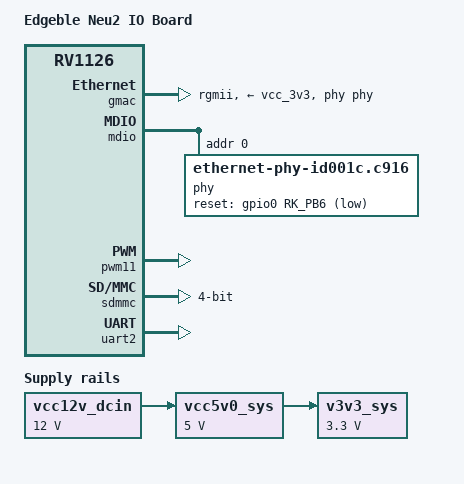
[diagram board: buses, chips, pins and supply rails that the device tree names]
// SPDX-License-Identifier: (GPL-2.0+ OR MIT)
/*
 * Copyright (c) 2020 Rockchip Electronics Co., Ltd.
 * Copyright (c) 2022 Edgeble AI Technologies Pvt. Ltd.
 */

/dts-v1/;
#include "rv1126.dtsi"
#include "rv1126-edgeble-neu2.dtsi"

/ {
	model = "Edgeble Neu2 IO Board";
	compatible = "edgeble,neural-compute-module-2-io",
		     "edgeble,neural-compute-module-2", "rockchip,rv1126";

	aliases {
		serial2 = &uart2;
	};

	chosen {
		stdout-path = "serial2:1500000n8";
	};

	vcc12v_dcin: vcc12v-dcin-regulator {
		compatible = "regulator-fixed";
		regulator-name = "vcc12v_dcin";
		regulator-always-on;
		regulator-boot-on;
		regulator-min-microvolt = <12000000>;
		regulator-max-microvolt = <12000000>;
	};

	vcc5v0_sys: vcc5v0-sys-regulator {
		compatible = "regulator-fixed";
		regulator-name = "vcc5v0_sys";
		regulator-always-on;
		regulator-boot-on;
		regulator-min-microvolt = <5000000>;
		regulator-max-microvolt = <5000000>;
		vin-supply = <&vcc12v_dcin>;
	};

	v3v3_sys: v3v3-sys-regulator {
		compatible = "regulator-fixed";
		regulator-name = "v3v3_sys";
		regulator-always-on;
		regulator-boot-on;
		regulator-min-microvolt = <3300000>;
		regulator-max-microvolt = <3300000>;
		vin-supply = <&vcc5v0_sys>;
	};
};

&gmac {
	assigned-clocks = <&cru CLK_GMAC_SRC>, <&cru CLK_GMAC_TX_RX>,
			  <&cru CLK_GMAC_ETHERNET_OUT>;
	assigned-clock-parents = <&cru CLK_GMAC_SRC_M1>, <&cru RGMII_MODE_CLK>;
	assigned-clock-rates = <125000000>, <0>, <25000000>;
	clock_in_out = "input";
	phy-handle = <&phy>;
	phy-mode = "rgmii";
	phy-supply = <&vcc_3v3>;
	pinctrl-names = "default";
	pinctrl-0 = <&rgmiim1_miim &rgmiim1_bus2 &rgmiim1_bus4 &clk_out_ethernetm1_pins>;
	tx_delay = <0x2a>;
	rx_delay = <0x1a>;
	status = "okay";
};

&mdio {
	phy: ethernet-phy@0 {
		compatible = "ethernet-phy-id001c.c916",
			     "ethernet-phy-ieee802.3-c22";
		reg = <0x0>;
		pinctrl-names = "default";
		pinctrl-0 = <&eth_phy_rst>;
		reset-assert-us = <20000>;
		reset-deassert-us = <100000>;
		reset-gpios = <&gpio0 RK_PB6 GPIO_ACTIVE_LOW>;
	};
};

&pinctrl {
	ethernet {
		eth_phy_rst: eth-phy-rst {
			rockchip,pins = <0 RK_PB6 RK_FUNC_GPIO &pcfg_pull_down>;
		};
	};
};

&pwm11 {
	status = "okay";
};

&sdmmc {
	bus-width = <4>;
	cap-mmc-highspeed;
	cap-sd-highspeed;
	card-detect-delay = <200>;
	pinctrl-names = "default";
	pinctrl-0 = <&sdmmc0_clk &sdmmc0_cmd &sdmmc0_bus4 &sdmmc0_det>;
	rockchip,default-sample-phase = <90>;
	sd-uhs-sdr12;
	sd-uhs-sdr25;
	sd-uhs-sdr104;
	vqmmc-supply = <&vccio_sd>;
	status = "okay";
};

&uart2 {
	status = "okay";
};
